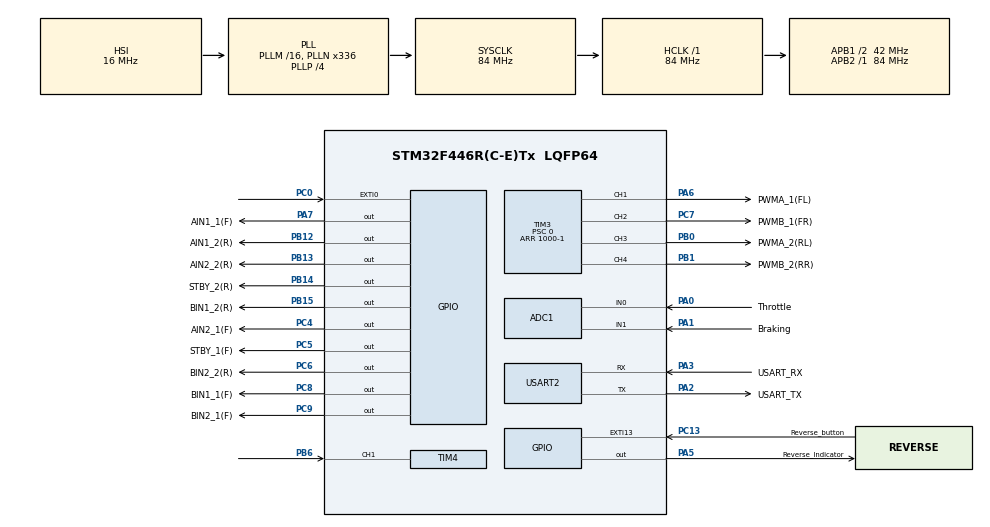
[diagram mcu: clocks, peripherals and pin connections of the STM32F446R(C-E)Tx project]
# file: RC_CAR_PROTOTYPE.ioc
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ADC1.Channel-0\#ChannelRegularConversion=ADC_CHANNEL_0
ADC1.Channel-1\#ChannelRegularConversion=ADC_CHANNEL_1
ADC1.ContinuousConvMode=DISABLE
ADC1.DMAContinuousRequests=ENABLE
ADC1.DiscontinuousConvMode=DISABLE
ADC1.EOCSelection=ADC_EOC_SINGLE_CONV
ADC1.ExternalTrigConv=ADC_EXTERNALTRIGCONV_T8_TRGO
ADC1.NbrOfConversion=2
ADC1.NbrOfConversionFlag=1
ADC1.Rank-0\#ChannelRegularConversion=1
ADC1.Rank-1\#ChannelRegularConversion=2
ADC1.SamplingTime-0\#ChannelRegularConversion=ADC_SAMPLETIME_3CYCLES
ADC1.SamplingTime-1\#ChannelRegularConversion=ADC_SAMPLETIME_3CYCLES
ADC1.ScanConvMode=ENABLE
ADC1.master=1
Dma.ADC1.0.Direction=DMA_PERIPH_TO_MEMORY
Dma.ADC1.0.FIFOMode=DMA_FIFOMODE_DISABLE
Dma.ADC1.0.Instance=DMA2_Stream0
Dma.ADC1.0.MemDataAlignment=DMA_MDATAALIGN_HALFWORD
Dma.ADC1.0.MemInc=DMA_MINC_ENABLE
Dma.ADC1.0.Mode=DMA_CIRCULAR
Dma.ADC1.0.PeriphDataAlignment=DMA_PDATAALIGN_HALFWORD
Dma.ADC1.0.PeriphInc=DMA_PINC_DISABLE
Dma.ADC1.0.Priority=DMA_PRIORITY_MEDIUM
Dma.Request0=ADC1
Mcu.Family=STM32F4
Mcu.Name=STM32F446R(C-E)Tx
Mcu.Package=LQFP64
NVIC.DMA2_Stream0_IRQn=true\:0\:0\:false\:false\:true\:false\:true\:true
NVIC.PriorityGroup=NVIC_PRIORITYGROUP_0
NVIC.TIM4_IRQn=true\:0\:0\:false\:false\:true\:true\:true\:true
PA0-WKUP.GPIO_Label=Throttle
PA0-WKUP.Signal=ADCx_IN0
PA1.GPIO_Label=Braking
PA1.Signal=ADCx_IN1
PA13.GPIO_Label=TMS
PA13.Mode=Serial_Wire
PA13.Signal=SYS_JTMS-SWDIO
PA14.GPIO_Label=TCK
PA14.Mode=Serial_Wire
PA14.Signal=SYS_JTCK-SWCLK
PA2.GPIO_Label=USART_TX
PA2.Mode=Asynchronous
PA2.Signal=USART2_TX
PA3.GPIO_Label=USART_RX
PA3.Mode=Asynchronous
PA3.Signal=USART2_RX
PA5.GPIO_Label=Reverse_Indicator
PA5.Signal=GPIO_Output
PA6.GPIO_Label=PWMA_1(FL)
PA6.Signal=S_TIM3_CH1
PA7.GPIO_Label=AIN1_1(F)
PA7.Signal=GPIO_Output
PB0.GPIO_Label=PWMA_2(RL)
PB0.Signal=S_TIM3_CH3
PB1.GPIO_Label=PWMB_2(RR)
PB1.Signal=S_TIM3_CH4
PB12.GPIO_Label=AIN1_2(R)
PB12.Signal=GPIO_Output
PB13.GPIO_Label=AIN2_2(R)
PB13.Signal=GPIO_Output
PB14.GPIO_Label=STBY_2(R)
PB14.Signal=GPIO_Output
PB15.GPIO_Label=BIN1_2(R)
PB15.Signal=GPIO_Output
PB3.GPIO_Label=SWO
PB3.Signal=SYS_JTDO-SWO
PB6.Signal=S_TIM4_CH1
PC0.Signal=GPXTI0
PC13.GPIO_Label=Reverse_button
PC13.GPIO_ModeDefaultEXTI=GPIO_MODE_IT_FALLING
PC13.Signal=GPXTI13
PC14-OSC32_IN.Mode=LSE-External-Oscillator
PC14-OSC32_IN.Signal=RCC_OSC32_IN
PC15-OSC32_OUT.Mode=LSE-External-Oscillator
PC15-OSC32_OUT.Signal=RCC_OSC32_OUT
PC4.GPIO_Label=AIN2_1(F)
PC4.Signal=GPIO_Output
PC5.GPIO_Label=STBY_1(F)
PC5.Signal=GPIO_Output
PC6.GPIO_Label=BIN2_2(R)
PC6.Signal=GPIO_Output
PC7.GPIO_Label=PWMB_1(FR)
PC7.Signal=S_TIM3_CH2
PC8.GPIO_Label=BIN1_1(F)
PC8.Signal=GPIO_Output
PC9.GPIO_Label=BIN2_1(F)
PC9.Signal=GPIO_Output
PH0-OSC_IN.Mode=HSE-External-Oscillator
PH0-OSC_IN.Signal=RCC_OSC_IN
PH1-OSC_OUT.Mode=HSE-External-Oscillator
PH1-OSC_OUT.Signal=RCC_OSC_OUT
ProjectManager.HeapSize=0x200
ProjectManager.StackSize=0x400
ProjectManager.TargetToolchain=STM32CubeIDE
RCC.48MHZClocksFreq_Value=84000000
RCC.AHBFreq_Value=84000000
RCC.APB1CLKDivider=RCC_HCLK_DIV2
RCC.APB1Freq_Value=42000000
RCC.APB1TimFreq_Value=84000000
RCC.APB2Freq_Value=84000000
RCC.APB2TimFreq_Value=84000000
RCC.CortexFreq_Value=84000000
RCC.FLatency-AdvancedSettings=FLASH_LATENCY_2
RCC.HCLKFreq_Value=84000000
RCC.HSE_VALUE=8000000
RCC.HSI_VALUE=16000000
RCC.PLLN=336
RCC.PLLP=RCC_PLLP_DIV4
RCC.SYSCLKFreq_VALUE=84000000
RCC.SYSCLKSource=RCC_SYSCLKSOURCE_PLLCLK
RCC.USBFreq_Value=168000000
RCC.VCOOutputFreq_Value=336000000
SH.ADCx_IN0.0=ADC1_IN0,IN0
SH.ADCx_IN1.0=ADC1_IN1,IN1
SH.S_TIM3_CH1.0=TIM3_CH1,PWM Generation1 CH1
SH.S_TIM3_CH2.0=TIM3_CH2,PWM Generation2 CH2
SH.S_TIM3_CH3.0=TIM3_CH3,PWM Generation3 CH3
SH.S_TIM3_CH4.0=TIM3_CH4,PWM Generation4 CH4
SH.S_TIM4_CH1.0=TIM4_CH1,Input_Capture1_from_TI1
TIM3.AutoReloadPreload=TIM_AUTORELOAD_PRELOAD_DISABLE
TIM3.Channel-PWM\ Generation1\ CH1=TIM_CHANNEL_1
TIM3.Channel-PWM\ Generation2\ CH2=TIM_CHANNEL_2
TIM3.Channel-PWM\ Generation3\ CH3=TIM_CHANNEL_3
TIM3.Channel-PWM\ Generation4\ CH4=TIM_CHANNEL_4
TIM3.OCFastMode_PWM-PWM\ Generation1\ CH1=TIM_OCFAST_DISABLE
TIM3.Period=1000-1
TIM3.Prescaler=0
TIM4.Channel-Input_Capture1_from_TI1=TIM_CHANNEL_1
TIM4.Prescaler=84-1
TIM8.Channel-Output\ Compare1\ No\ Output=TIM_CHANNEL_1
TIM8.Period=1000-1
TIM8.Prescaler=84-1
TIM8.TIM_MasterOutputTrigger=TIM_TRGO_UPDATE
USART2.VirtualMode=VM_ASYNC
VP_TIM8_VS_no_output1.Mode=Output Compare1 No Output
board=NUCLEO-F446RE

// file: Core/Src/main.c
/* USER CODE BEGIN Header */
/**
  ******************************************************************************
  * @file           : main.c
  * @brief          : Main program body
  ******************************************************************************
  * @attention
  *
  * Copyright (c) 2025 STMicroelectronics.
  * All rights reserved.
  *
  * This software is licensed under terms that can be found in the LICENSE file
  * in the root directory of this software component.
  * If no LICENSE file comes with this software, it is provided AS-IS.
  *
  ******************************************************************************
  */
/* USER CODE END Header */
#include "main.h"

/* USER CODE BEGIN Includes */
#include "stdbool.h"
#include "TB6612FNG.h"
#include "Pedals.h"
/* USER CODE END Includes */

ADC_HandleTypeDef hadc1;
DMA_HandleTypeDef hdma_adc1;

TIM_HandleTypeDef htim3;
TIM_HandleTypeDef htim4;
TIM_HandleTypeDef htim8;

UART_HandleTypeDef huart2;

/* USER CODE BEGIN PV */
tb6612fng_t motor_driver; // Custom struct for all motor driver pins and PWM channels

uint16_t throttle; // Speed Control
uint8_t braking; // Braking control
uint8_t brake_force = 0;
uint16_t adc_buffer[2]; // For storing two ADC converted values (throttle & steering)

bool direction = true; // Forward(true) or backward(false)
bool in1 = true; // CW or forward by default
bool in2 = false;

// Steering amount (Default is 1, no steering)
float sideA = 1;
float sideB = 1;

volatile uint16_t last_capture = 0;
volatile uint16_t period;
volatile uint32_t last_detected = 0;
uint32_t rpm;
/* USER CODE END PV */

void SystemClock_Config(void);
static void MX_GPIO_Init(void);
static void MX_DMA_Init(void);
static void MX_USART2_UART_Init(void);
static void MX_ADC1_Init(void);
static void MX_TIM3_Init(void);
static void MX_TIM8_Init(void);
static void MX_TIM4_Init(void);
/* USER CODE BEGIN PFP */
void tb6612fng_config(tb6612fng_t* tbf);
/* USER CODE END PFP */

int main(void)
{

  /* MCU Configuration--------------------------------------------------------*/

  /* Reset of all peripherals, Initializes the Flash interface and the Systick. */

	HAL_Init();

  /* Configure the system clock */
  SystemClock_Config();

  /* Initialize all configured peripherals */
  MX_GPIO_Init();
  MX_DMA_Init();
  MX_USART2_UART_Init();
  MX_ADC1_Init();
  MX_TIM3_Init();
  MX_TIM8_Init();
  MX_TIM4_Init();
  /* USER CODE BEGIN 2 */
  tb6612fng_config(&motor_driver); // Assign values to struct attributes
  tb6612fng_init(&motor_driver);

  HAL_ADC_Start_DMA(&hadc1, (uint32_t *) adc_buffer, 2);

  HAL_TIM_Base_Start(&htim8);
  HAL_TIM_IC_Start_IT(&htim4, TIM_CHANNEL_1);
  /* USER CODE END 2 */

  /* Infinite loop */
  /* USER CODE BEGIN WHILE */
  while (1)
  {
	  // Hall sensor code
	 /* if((HAL_GPIO_ReadPin(GPIOC, GPIO_PIN_0))){
		  HAL_GPIO_WritePin(Reverse_Indicator_GPIO_Port, Reverse_Indicator_Pin, GPIO_PIN_SET);
		  state = 1;
	  }
	  else{
		  HAL_GPIO_WritePin(Reverse_Indicator_GPIO_Port, Reverse_Indicator_Pin, GPIO_PIN_RESET);
		  state = 0;
	  }*/

	  // Forward or reverse is selected through based on in1 and in2
	  tb6612fng_direction(&motor_driver, in1, in2);

	  // Scaling the throttle value to range between 0 to ARR(1000) for PWM
	  throttle = (adc_buffer[0]*1000)/4095;
	  braking = (adc_buffer[1]*4)/4095;

	  // Control the speed and steering
	  tb6612fng_speed(&motor_driver, throttle,sideA,sideB);

	  while(braking > 0){
		  braking = (adc_buffer[1]*4)/4095;
		  tb6612fng_direction(&motor_driver, 0, 1);
		  brake_pedal(&braking, &brake_force);
		  tb6612fng_speed(&motor_driver, brake_force,sideA,sideB);
		  throttle = 0;
	  }
    /* USER CODE END WHILE */

  }
}

void SystemClock_Config(void)
{
  RCC_OscInitTypeDef RCC_OscInitStruct = {0};
  RCC_ClkInitTypeDef RCC_ClkInitStruct = {0};

  /** Configure the main internal regulator output voltage
  */
  __HAL_RCC_PWR_CLK_ENABLE();
  __HAL_PWR_VOLTAGESCALING_CONFIG(PWR_REGULATOR_VOLTAGE_SCALE3);

  /** Initializes the RCC Oscillators according to the specified parameters
  * in the RCC_OscInitTypeDef structure.
  */
  RCC_OscInitStruct.OscillatorType = RCC_OSCILLATORTYPE_HSI;
  RCC_OscInitStruct.HSIState = RCC_HSI_ON;
  RCC_OscInitStruct.HSICalibrationValue = RCC_HSICALIBRATION_DEFAULT;
  RCC_OscInitStruct.PLL.PLLState = RCC_PLL_ON;
  RCC_OscInitStruct.PLL.PLLSource = RCC_PLLSOURCE_HSI;
  RCC_OscInitStruct.PLL.PLLM = 16;
  RCC_OscInitStruct.PLL.PLLN = 336;
  RCC_OscInitStruct.PLL.PLLP = RCC_PLLP_DIV4;
  RCC_OscInitStruct.PLL.PLLQ = 2;
  RCC_OscInitStruct.PLL.PLLR = 2;
  if (HAL_RCC_OscConfig(&RCC_OscInitStruct) != HAL_OK)
  {
    Error_Handler();
  }

  /** Initializes the CPU, AHB and APB buses clocks
  */
  RCC_ClkInitStruct.ClockType = RCC_CLOCKTYPE_HCLK|RCC_CLOCKTYPE_SYSCLK
                              |RCC_CLOCKTYPE_PCLK1|RCC_CLOCKTYPE_PCLK2;
  RCC_ClkInitStruct.SYSCLKSource = RCC_SYSCLKSOURCE_PLLCLK;
  RCC_ClkInitStruct.AHBCLKDivider = RCC_SYSCLK_DIV1;
  RCC_ClkInitStruct.APB1CLKDivider = RCC_HCLK_DIV2;
  RCC_ClkInitStruct.APB2CLKDivider = RCC_HCLK_DIV1;

  if (HAL_RCC_ClockConfig(&RCC_ClkInitStruct, FLASH_LATENCY_2) != HAL_OK)
  {
    Error_Handler();
  }
}

static void MX_ADC1_Init(void)
{

  ADC_ChannelConfTypeDef sConfig = {0};

  /** Configure the global features of the ADC (Clock, Resolution, Data Alignment and number of conversion)
  */
  hadc1.Instance = ADC1;
  hadc1.Init.ClockPrescaler = ADC_CLOCK_SYNC_PCLK_DIV4;
  hadc1.Init.Resolution = ADC_RESOLUTION_12B;
  hadc1.Init.ScanConvMode = ENABLE;
  hadc1.Init.ContinuousConvMode = DISABLE;
  hadc1.Init.DiscontinuousConvMode = DISABLE;
  hadc1.Init.ExternalTrigConvEdge = ADC_EXTERNALTRIGCONVEDGE_RISING;
  hadc1.Init.ExternalTrigConv = ADC_EXTERNALTRIGCONV_T8_TRGO;
  hadc1.Init.DataAlign = ADC_DATAALIGN_RIGHT;
  hadc1.Init.NbrOfConversion = 2;
  hadc1.Init.DMAContinuousRequests = ENABLE;
  hadc1.Init.EOCSelection = ADC_EOC_SINGLE_CONV;
  if (HAL_ADC_Init(&hadc1) != HAL_OK)
  {
    Error_Handler();
  }

  /** Configure for the selected ADC regular channel its corresponding rank in the sequencer and its sample time.
  */
  sConfig.Channel = ADC_CHANNEL_0;
  sConfig.Rank = 1;
  sConfig.SamplingTime = ADC_SAMPLETIME_3CYCLES;
  if (HAL_ADC_ConfigChannel(&hadc1, &sConfig) != HAL_OK)
  {
    Error_Handler();
  }

  /** Configure for the selected ADC regular channel its corresponding rank in the sequencer and its sample time.
  */
  sConfig.Channel = ADC_CHANNEL_1;
  sConfig.Rank = 2;
  if (HAL_ADC_ConfigChannel(&hadc1, &sConfig) != HAL_OK)
  {
    Error_Handler();
  }

}

static void MX_TIM3_Init(void)
{

  TIM_MasterConfigTypeDef sMasterConfig = {0};
  TIM_OC_InitTypeDef sConfigOC = {0};

  htim3.Instance = TIM3;
  htim3.Init.Prescaler = 0;
  htim3.Init.CounterMode = TIM_COUNTERMODE_UP;
  htim3.Init.Period = 1000-1;
  htim3.Init.ClockDivision = TIM_CLOCKDIVISION_DIV1;
  htim3.Init.AutoReloadPreload = TIM_AUTORELOAD_PRELOAD_DISABLE;
  if (HAL_TIM_PWM_Init(&htim3) != HAL_OK)
  {
    Error_Handler();
  }
  sMasterConfig.MasterOutputTrigger = TIM_TRGO_RESET;
  sMasterConfig.MasterSlaveMode = TIM_MASTERSLAVEMODE_DISABLE;
  if (HAL_TIMEx_MasterConfigSynchronization(&htim3, &sMasterConfig) != HAL_OK)
  {
    Error_Handler();
  }
  sConfigOC.OCMode = TIM_OCMODE_PWM1;
  sConfigOC.Pulse = 0;
  sConfigOC.OCPolarity = TIM_OCPOLARITY_HIGH;
  sConfigOC.OCFastMode = TIM_OCFAST_DISABLE;
  if (HAL_TIM_PWM_ConfigChannel(&htim3, &sConfigOC, TIM_CHANNEL_1) != HAL_OK)
  {
    Error_Handler();
  }
  if (HAL_TIM_PWM_ConfigChannel(&htim3, &sConfigOC, TIM_CHANNEL_2) != HAL_OK)
  {
    Error_Handler();
  }
  if (HAL_TIM_PWM_ConfigChannel(&htim3, &sConfigOC, TIM_CHANNEL_3) != HAL_OK)
  {
    Error_Handler();
  }
  if (HAL_TIM_PWM_ConfigChannel(&htim3, &sConfigOC, TIM_CHANNEL_4) != HAL_OK)
  {
    Error_Handler();
  }
  HAL_TIM_MspPostInit(&htim3);

}

static void MX_TIM4_Init(void)
{

  TIM_MasterConfigTypeDef sMasterConfig = {0};
  TIM_IC_InitTypeDef sConfigIC = {0};

  htim4.Instance = TIM4;
  htim4.Init.Prescaler = 84-1;
  htim4.Init.CounterMode = TIM_COUNTERMODE_UP;
  htim4.Init.Period = 65535;
  htim4.Init.ClockDivision = TIM_CLOCKDIVISION_DIV1;
  htim4.Init.AutoReloadPreload = TIM_AUTORELOAD_PRELOAD_DISABLE;
  if (HAL_TIM_IC_Init(&htim4) != HAL_OK)
  {
    Error_Handler();
  }
  sMasterConfig.MasterOutputTrigger = TIM_TRGO_RESET;
  sMasterConfig.MasterSlaveMode = TIM_MASTERSLAVEMODE_DISABLE;
  if (HAL_TIMEx_MasterConfigSynchronization(&htim4, &sMasterConfig) != HAL_OK)
  {
    Error_Handler();
  }
  sConfigIC.ICPolarity = TIM_INPUTCHANNELPOLARITY_RISING;
  sConfigIC.ICSelection = TIM_ICSELECTION_DIRECTTI;
  sConfigIC.ICPrescaler = TIM_ICPSC_DIV1;
  sConfigIC.ICFilter = 0;
  if (HAL_TIM_IC_ConfigChannel(&htim4, &sConfigIC, TIM_CHANNEL_1) != HAL_OK)
  {
    Error_Handler();
  }

}

static void MX_TIM8_Init(void)
{

  TIM_MasterConfigTypeDef sMasterConfig = {0};
  TIM_OC_InitTypeDef sConfigOC = {0};
  TIM_BreakDeadTimeConfigTypeDef sBreakDeadTimeConfig = {0};

  htim8.Instance = TIM8;
  htim8.Init.Prescaler = 84-1;
  htim8.Init.CounterMode = TIM_COUNTERMODE_UP;
  htim8.Init.Period = 1000-1;
  htim8.Init.ClockDivision = TIM_CLOCKDIVISION_DIV1;
  htim8.Init.RepetitionCounter = 0;
  htim8.Init.AutoReloadPreload = TIM_AUTORELOAD_PRELOAD_DISABLE;
  if (HAL_TIM_OC_Init(&htim8) != HAL_OK)
  {
    Error_Handler();
  }
  sMasterConfig.MasterOutputTrigger = TIM_TRGO_UPDATE;
  sMasterConfig.MasterSlaveMode = TIM_MASTERSLAVEMODE_DISABLE;
  if (HAL_TIMEx_MasterConfigSynchronization(&htim8, &sMasterConfig) != HAL_OK)
  {
    Error_Handler();
  }
  sConfigOC.OCMode = TIM_OCMODE_TIMING;
  sConfigOC.Pulse = 0;
  sConfigOC.OCPolarity = TIM_OCPOLARITY_HIGH;
  sConfigOC.OCNPolarity = TIM_OCNPOLARITY_HIGH;
  sConfigOC.OCFastMode = TIM_OCFAST_DISABLE;
  sConfigOC.OCIdleState = TIM_OCIDLESTATE_RESET;
  sConfigOC.OCNIdleState = TIM_OCNIDLESTATE_RESET;
  if (HAL_TIM_OC_ConfigChannel(&htim8, &sConfigOC, TIM_CHANNEL_1) != HAL_OK)
  {
    Error_Handler();
  }
  sBreakDeadTimeConfig.OffStateRunMode = TIM_OSSR_DISABLE;
  sBreakDeadTimeConfig.OffStateIDLEMode = TIM_OSSI_DISABLE;
  sBreakDeadTimeConfig.LockLevel = TIM_LOCKLEVEL_OFF;
  sBreakDeadTimeConfig.DeadTime = 0;
  sBreakDeadTimeConfig.BreakState = TIM_BREAK_DISABLE;
  sBreakDeadTimeConfig.BreakPolarity = TIM_BREAKPOLARITY_HIGH;
  sBreakDeadTimeConfig.AutomaticOutput = TIM_AUTOMATICOUTPUT_DISABLE;
  if (HAL_TIMEx_ConfigBreakDeadTime(&htim8, &sBreakDeadTimeConfig) != HAL_OK)
  {
    Error_Handler();
  }

}

static void MX_USART2_UART_Init(void)
{

  huart2.Instance = USART2;
  huart2.Init.BaudRate = 115200;
  huart2.Init.WordLength = UART_WORDLENGTH_8B;
  huart2.Init.StopBits = UART_STOPBITS_1;
  huart2.Init.Parity = UART_PARITY_NONE;
  huart2.Init.Mode = UART_MODE_TX_RX;
  huart2.Init.HwFlowCtl = UART_HWCONTROL_NONE;
  huart2.Init.OverSampling = UART_OVERSAMPLING_16;
  if (HAL_UART_Init(&huart2) != HAL_OK)
  {
    Error_Handler();
  }

}

static void MX_DMA_Init(void)
{

  /* DMA controller clock enable */
  __HAL_RCC_DMA2_CLK_ENABLE();

  /* DMA interrupt init */
  /* DMA2_Stream0_IRQn interrupt configuration */
  HAL_NVIC_SetPriority(DMA2_Stream0_IRQn, 0, 0);
  HAL_NVIC_EnableIRQ(DMA2_Stream0_IRQn);

}

static void MX_GPIO_Init(void)
{
  GPIO_InitTypeDef GPIO_InitStruct = {0};

  /* GPIO Ports Clock Enable */
  __HAL_RCC_GPIOC_CLK_ENABLE();
  __HAL_RCC_GPIOH_CLK_ENABLE();
  __HAL_RCC_GPIOA_CLK_ENABLE();
  __HAL_RCC_GPIOB_CLK_ENABLE();

  /*Configure GPIO pin Output Level */
  HAL_GPIO_WritePin(GPIOA, Reverse_Indicator_Pin|AIN1_1_Pin, GPIO_PIN_RESET);

  /*Configure GPIO pin Output Level */
  HAL_GPIO_WritePin(GPIOC, AIN2_1_Pin|STBY_1_Pin|BIN2_2_Pin|BIN1_1_Pin
                          |BIN2_1_Pin, GPIO_PIN_RESET);

  /*Configure GPIO pin Output Level */
  HAL_GPIO_WritePin(GPIOB, AIN1_2_Pin|AIN2_2_Pin|STBY_2_Pin|BIN1_2_Pin, GPIO_PIN_RESET);

  /*Configure GPIO pin : Reverse_button_Pin */
  GPIO_InitStruct.Pin = Reverse_button_Pin;
  GPIO_InitStruct.Mode = GPIO_MODE_IT_FALLING;
  GPIO_InitStruct.Pull = GPIO_NOPULL;
  HAL_GPIO_Init(Reverse_button_GPIO_Port, &GPIO_InitStruct);

  /*Configure GPIO pin : PC0 */
  GPIO_InitStruct.Pin = GPIO_PIN_0;
  GPIO_InitStruct.Mode = GPIO_MODE_IT_RISING;
  GPIO_InitStruct.Pull = GPIO_NOPULL;
  HAL_GPIO_Init(GPIOC, &GPIO_InitStruct);

  /*Configure GPIO pins : Reverse_Indicator_Pin AIN1_1_Pin */
  GPIO_InitStruct.Pin = Reverse_Indicator_Pin|AIN1_1_Pin;
  GPIO_InitStruct.Mode = GPIO_MODE_OUTPUT_PP;
  GPIO_InitStruct.Pull = GPIO_NOPULL;
  GPIO_InitStruct.Speed = GPIO_SPEED_FREQ_LOW;
  HAL_GPIO_Init(GPIOA, &GPIO_InitStruct);

  /*Configure GPIO pins : AIN2_1_Pin STBY_1_Pin BIN2_2_Pin BIN1_1_Pin
                           BIN2_1_Pin */
  GPIO_InitStruct.Pin = AIN2_1_Pin|STBY_1_Pin|BIN2_2_Pin|BIN1_1_Pin
                          |BIN2_1_Pin;
  GPIO_InitStruct.Mode = GPIO_MODE_OUTPUT_PP;
  GPIO_InitStruct.Pull = GPIO_NOPULL;
  GPIO_InitStruct.Speed = GPIO_SPEED_FREQ_LOW;
  HAL_GPIO_Init(GPIOC, &GPIO_InitStruct);

  /*Configure GPIO pins : AIN1_2_Pin AIN2_2_Pin STBY_2_Pin BIN1_2_Pin */
  GPIO_InitStruct.Pin = AIN1_2_Pin|AIN2_2_Pin|STBY_2_Pin|BIN1_2_Pin;
  GPIO_InitStruct.Mode = GPIO_MODE_OUTPUT_PP;
  GPIO_InitStruct.Pull = GPIO_NOPULL;
  GPIO_InitStruct.Speed = GPIO_SPEED_FREQ_LOW;
  HAL_GPIO_Init(GPIOB, &GPIO_InitStruct);

}

/* USER CODE BEGIN 4 */
	// Instance of the motor driver struct
	void tb6612fng_config(tb6612fng_t* tbf){

		// Number after the underscore represents the front(1)/rear(2) motor driver.
		tbf->stdby_front_port = STBY_1_GPIO_Port;
		tbf->stdby_front_pin = STBY_1_Pin;

		tbf->stdby_rear_port = STBY_2_GPIO_Port;
		tbf->stdby_rear_pin = STBY_2_Pin;

		// Front left
		tbf->AIN1_front_port = AIN1_1_GPIO_Port;
		tbf->AIN1_front_pin = AIN1_1_Pin;

		tbf->AIN2_front_port = AIN2_1_GPIO_Port;
		tbf->AIN2_front_pin = AIN2_1_Pin;

		// Front right
		tbf->BIN1_front_port = BIN1_1_GPIO_Port;
		tbf->BIN1_front_pin = BIN1_1_Pin;

		tbf->BIN2_front_port = BIN2_1_GPIO_Port;
		tbf->BIN2_front_pin = BIN2_1_Pin;

		// Rear left
		tbf->AIN1_rear_port = AIN1_2_GPIO_Port;
		tbf->AIN1_rear_pin = AIN1_2_Pin;

		tbf->AIN2_rear_port = AIN2_2_GPIO_Port;
		tbf->AIN2_rear_pin = AIN2_2_Pin;

		// Rear right
		tbf->BIN1_rear_port = BIN1_2_GPIO_Port;
		tbf->BIN1_rear_pin = BIN1_2_Pin;

		tbf->BIN2_rear_port = BIN2_2_GPIO_Port;
		tbf->BIN2_rear_pin = BIN2_2_Pin;

		tbf->htim = &htim3;

		tbf->front_left = TIM_CHANNEL_1;
		tbf->front_right = TIM_CHANNEL_2;
		tbf->rear_left = TIM_CHANNEL_3;
		tbf->rear_right = TIM_CHANNEL_4;

	}

	void HAL_TIM_IC_CaptureCallback(TIM_HandleTypeDef *htim){
	    if (htim->Channel == HAL_TIM_ACTIVE_CHANNEL_1) {
	    	uint16_t current = TIM4->CCR1;
	    	period = current - last_capture;
	    	last_capture = current;

	    	last_detected = HAL_GetTick();
	    }
	}
/* USER CODE END 4 */

void Error_Handler(void)
{
  __disable_irq();
  while (1)
  {
  }
}
